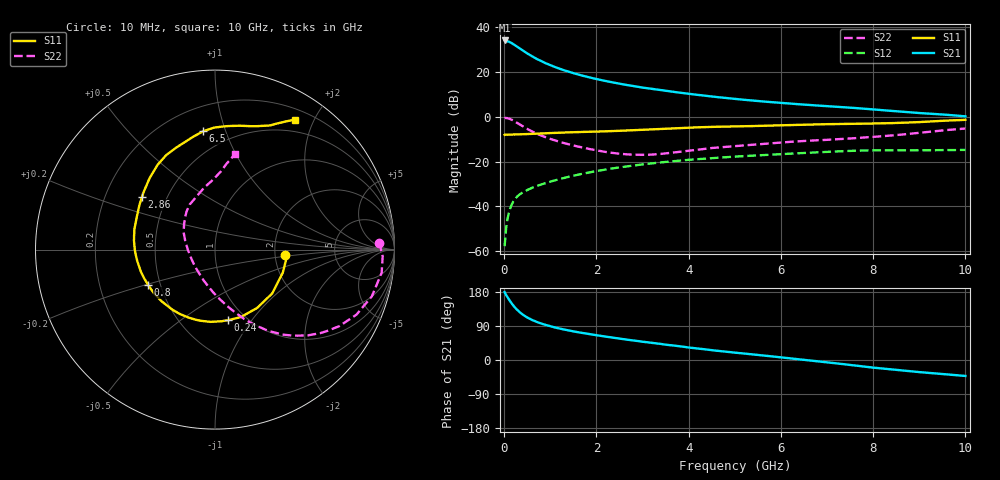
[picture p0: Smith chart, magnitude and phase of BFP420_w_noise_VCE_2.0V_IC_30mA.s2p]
! Infineon Technologies  Discrete & RF Semiconductors
! BFP420
! VCE =  2.0 V,  IC =  30 mA
! Common Emitter S-Parameters:  Jan 2016
# GHz  S  MA  R  50
!  f  S11  S21  S12  S22
! GHz  MAG  ANG  MAG  ANG  MAG  ANG  MAG  ANG
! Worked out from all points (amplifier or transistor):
!   233 points, 10 MHz to 10 GHz, reference 50 ohm
!   highest |S21| = 33.9 dB at 10 MHz (marker M1)
!   |S21| within 3 dB of that: start of sweep to 298.9 MHz
!   unconditionally stable (mu >= 1): 1.505 GHz to end of sweep
!   at 200 MHz: K = 0.30, MSG = 35.1 dB, |S12| = -37.8 dB
!   at 1.74 GHz: K = 1.04, MAG = 20.4 dB, |S12| = -25.3 dB
!   at 10 GHz: K = 1.06, MAG = 6.0 dB, |S12| = -14.8 dB
!   lowest NFmin = 1.51 dB at 900 MHz
!   S11 on the Smith chart (normalised r, x): 10 MHz: 2.28, -0.16; 240 MHz: 0.83, -0.77; 800 MHz: 0.43, -0.21; 2.86 GHz: 0.36, +0.28; 6.5 GHz: 0.36, +0.84; 10 GHz: 0.34, +1.74
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0.01  0.3934 -4.3  49.82 179.4  0.0013 110.1  0.9156 2.4
0.02  0.4004 -7.8  48.8 176.1  0.0018 94.4  0.9351 -2.3
0.04  0.3978 -15.1  48.46 172.0  0.0031 87.4  0.9356 -6.0
0.105  0.3999 -39.2  46.62 159.4  0.0075 78.0  0.9068 -17.4
0.15  0.401 -54.3  44.32 151.3  0.0102 73.5  0.868 -24.6
0.2  0.4025 -69.2  41.34 143.3  0.0129 69.7  0.8146 -31.5
0.24  0.4002 -79.7  38.72 137.7  0.0147 66.9  0.7697 -36.2
0.3  0.4034 -93.6  35.21 130.1  0.0172 63.7  0.7048 -42.7
0.36  0.4052 -104.9  31.91 123.9  0.0192 61.4  0.6453 -47.9
0.48  0.4091 -122.9  26.41 113.7  0.0227 58.7  0.5457 -56.2
0.6  0.4143 -136.3  22.21 105.8  0.0258 57.6  0.4696 -62.7
0.8  0.4216 -152.1  17.28 96.2  0.0307 57.1  0.3803 -70.9
1.2  0.4386 -172.3  11.69 82.9  0.0406 56.7  0.2748 -85.0
1.68  0.456 171.9  8.283 71.7  0.0529 55.0  0.2065 -101.1
2.2  0.4708 158.5  6.22 61.7  0.0664 51.7  0.1635 -120.6
2.86  0.5012 144.2  4.686 50.6  0.0829 46.2  0.1414 -151.3
3.4  0.5331 134.1  3.883 42.3  0.0955 41.1  0.1479 -176.1
5.1  0.6078 110.9  2.426 18.3  0.1303 25.0  0.2243 140.1
6.5  0.6626 95.7  1.853 0.4  0.1552 12.1  0.2879 119.4
6.8  0.672 92.5  1.766 -3.4  0.1606 9.1  0.2972 114.9
8.4  0.7173 73.4  1.344 -25.1  0.1779 -9.0  0.3801 93.3
10  0.8485 58.5  1.016 -42.1  0.1812 -21.3  0.5433 78.1
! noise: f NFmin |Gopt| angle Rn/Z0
0.9  1.51  0.26  -155  0.13
1.8  1.78  0.33  -142  0.14
2.4  1.96  0.3  -136  0.18
3  1.98  0.38  -127  0.2
4  2.11  0.47  -111  0.31
5  2.57  0.53  -94  0.51
6  3  0.57  -82  0.74
